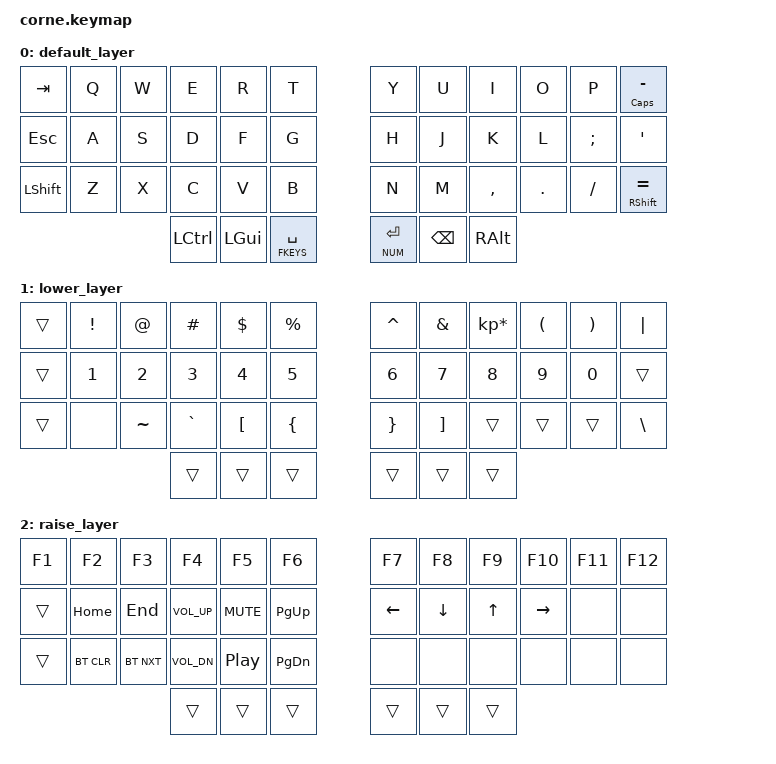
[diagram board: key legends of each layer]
/*
 * Copyright (c) 2020 The ZMK Contributors
 *
 * SPDX-License-Identifier: MIT
 */

#include <behaviors.dtsi>
#include <dt-bindings/zmk/keys.h>
#include <dt-bindings/zmk/bt.h>

#define NUM 1
#define FKEYS 2

/ {
        keymap {
                compatible = "zmk,keymap";

                default_layer { 
// ----------------------------------------------------------------------------------------- 
// |  TAB |  Q  |  W  |  E  |  R  |  T  |   |  Y  |  U   |  I  |  O  |  P  |   -  |
// |  ESC |  A  |  S  |  D  |  F  |  G  |   |  H  |  J   |  K  |  L  |  ;  |   '  |
// | SHFT |  Z  |  X  |  C  |  V  |  B  |   |  N  |  M   |  ,  |  .  |  /  |   =  |
//                    | CTL | GUI | SPC |   | ENT | BKSP | ALT |
                        bindings = <
   &kp TAB   &kp Q &kp W &kp E &kp R &kp T   &kp Y &kp U  &kp I     &kp O   &kp P    &mt CAPS MINUS
   &kp ESC   &kp A &kp S &kp D &kp F &kp G   &kp H &kp J  &kp K     &kp L   &kp SEMI &kp SQT
   &kp LSHFT &kp Z &kp X &kp C &kp V &kp B   &kp N &kp M  &kp COMMA &kp DOT &kp FSLH &mt RSHFT EQUAL
                  &kp LCTL &kp LGUI &lt FKEYS SPACE   &lt NUM RET &kp BSPC &kp RALT
                        >;
                };
                lower_layer {
// -----------------------------------------------------------------------------------------
// |  TAB |  !  |  @  |  #  |  $  |  %  |   |  ^  |  &  |  *  |  (  |  )  |   |  |
// | ESC  |  1  |  2  |  3  |  4  |  5  |   |  6  |  7  |  8  |  9  |  0  |   '  |
// | SHFT |NONE |  ~  |  `  |  [  |  {  |   |  }  |  ]  |  ,  |  .  |  /  |   \  |
//                    | CTL | GUI | SPC |   | ENT | BKSP| ALT |
                        bindings = <
   &trans  &kp EXCL     &kp AT       &kp HASH     &kp DLLR     &kp PRCNT      &kp CARET &kp AMPS &kp KP_MULTIPLY  &kp LPAR &kp RPAR &kp PIPE
   &trans  &kp N1       &kp N2       &kp N3       &kp N4       &kp N5         &kp N6    &kp N7   &kp N8           &kp N9   &kp N0   &trans
   &trans  &none        &kp TILDE    &kp GRAVE    &kp LBKT     &kp LBRC       &kp RBRC  &kp RBKT &trans           &trans   &trans   &kp BSLH
                                              &trans &trans &trans &trans &trans &trans
                        >;
                };

                raise_layer {
// -----------------------------------------------------------------------------------------
// |  F1  |  F2  |  F3  |  F4    |  F5  |  F6 |   |  F7 |  F8 | F9  | F10 | F11 | F12  |
// | ESC  | HOME | END  |C_VOL_UP|C_MUTE|PG_UP|   | LEFT| DOWN|  UP |RIGHT|     |      |
// | SHFT |BT_CLR|BT_NXT|C_VOL_DN|C_PP  |PG_DN|   |     |     |     |     |     |      |
//                    | CTL | GUI | SPC |   | ENT | BKSP| ALT |
                        bindings = <
   &kp F1   &kp F2     &kp F3     &kp F4       &kp F5     &kp F6      &kp F7    &kp F8    &kp F9    &kp F10   &kp F11  &kp F12
   &trans   &kp HOME   &kp END    &kp C_VOL_UP &kp C_MUTE &kp PG_UP   &kp LEFT  &kp DOWN  &kp UP    &kp RIGHT &none    &none
   &trans   &bt BT_CLR &bt BT_NXT &kp C_VOL_DN &kp C_PP   &kp PG_DN   &none     &none     &none     &none     &none    &none
                                              &trans &trans &trans &trans &trans &trans
                        >;
                };
        };
};
